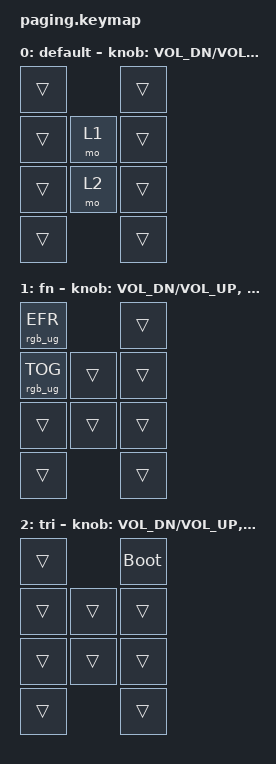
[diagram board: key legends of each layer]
#include <behaviors.dtsi>
#include <dt-bindings/zmk/bt.h>
#include <dt-bindings/zmk/keys.h>
#include <dt-bindings/zmk/rgb.h>
#include <dt-bindings/zmk/backlight.h>

/ {
    keymap0: keymap {
        compatible = "zmk,keymap";

        default_layer {
            display-name = "default";
            bindings = <
                &trans          &trans
                &trans  &mo 1   &trans 
                &trans  &mo 2   &trans
                &trans          &trans        
            >; 
            sensor-bindings = <&inc_dec_kp C_VOL_DN C_VOL_UP &inc_dec_kp PG_UP PG_DN>;
        };

        fn_layer {
            display-name = "fn";
            bindings = <
                &rgb_ug RGB_EFR          &trans
                &rgb_ug RGB_TOG  &trans  &trans 
                &trans           &trans  &trans
                &trans                   &trans  
            >;
            sensor-bindings = <&inc_dec_kp C_VOL_DN C_VOL_UP &inc_dec_kp PG_UP PG_DN>;
        };

        tri_layer {
            display-name = "tri";
            bindings = <
                &trans          &bootloader
                &trans  &trans  &trans 
                &trans  &trans  &trans
                &trans          &trans 
            >;
            sensor-bindings = <&inc_dec_kp C_VOL_DN C_VOL_UP &inc_dec_kp PG_UP PG_DN>;
        };
    };
};
